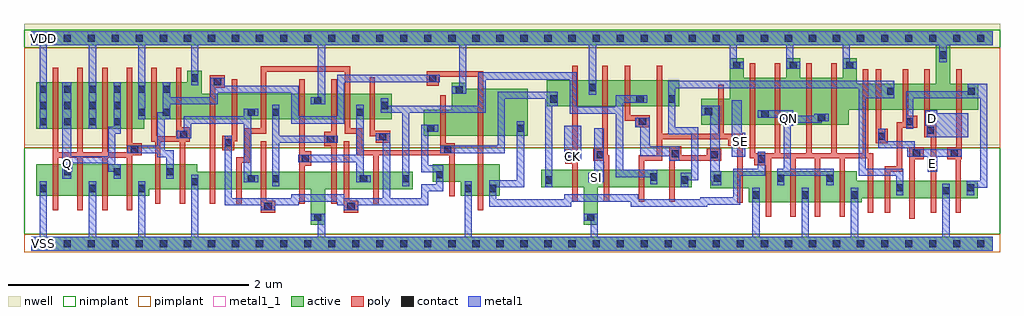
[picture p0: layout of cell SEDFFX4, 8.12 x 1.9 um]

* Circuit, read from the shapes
.subckt SEDFFX4 CK D E Q QN SE SI VDD VSS
M1 Q n1 VSS VSS nfet w=0.26u l=0.045u m=4
M2 n1 n2 VSS VSS nfet w=0.205u l=0.045u m=2
M3 n3 n1 VSS VSS nfet w=0.145u l=0.045u
M4 n2 n4 n3 VSS nfet w=0.145u l=0.045u
M5 n5 n6 n2 VSS nfet w=0.145u l=0.045u
M6 VSS n7 n5 VSS nfet w=0.145u l=0.045u
M7 n8 n5 VSS VSS nfet w=0.145u l=0.045u
M8 n7 n6 n8 VSS nfet w=0.145u l=0.045u
M9 n9 n4 n7 VSS nfet w=0.145u l=0.045u
M10 VSS n4 n6 VSS nfet w=0.145u l=0.045u
M11 n10 n1 VSS VSS nfet w=0.26u l=0.045u
M12 VSS CK n4 VSS nfet w=0.145u l=0.045u
M13 n11 SI VSS VSS nfet w=0.145u l=0.045u
M14 n9 SE n11 VSS nfet w=0.145u l=0.045u
M15 n12 n13 n9 VSS nfet w=0.145u l=0.045u
M16 VSS SE n13 VSS nfet w=0.145u l=0.045u
M17 QN n10 VSS VSS nfet w=0.26u l=0.045u m=4
M18 n14 n10 VSS VSS nfet w=0.145u l=0.045u
M19 n12 n15 n14 VSS nfet w=0.145u l=0.045u
M20 n16 E n12 VSS nfet w=0.145u l=0.045u
M21 VSS D n16 VSS nfet w=0.145u l=0.045u
M22 n15 E VSS VSS nfet w=0.145u l=0.045u
M23 Q n1 VDD VDD pfet w=0.39u l=0.045u m=4
M24 n1 n2 VDD VDD pfet w=0.31u l=0.045u m=2
M25 n17 n1 VDD VDD pfet w=0.215u l=0.045u
M26 n2 n6 n17 VDD pfet w=0.215u l=0.045u
M27 n5 n4 n2 VDD pfet w=0.215u l=0.045u
M28 VDD n7 n5 VDD pfet w=0.215u l=0.045u
M29 n18 n5 VDD VDD pfet w=0.215u l=0.045u
M30 n7 n4 n18 VDD pfet w=0.215u l=0.045u
M31 n9 n6 n7 VDD pfet w=0.215u l=0.045u
M32 VDD n4 n6 VDD pfet w=0.215u l=0.045u
M33 n10 n1 VDD VDD pfet w=0.39u l=0.045u
M34 VDD CK n4 VDD pfet w=0.215u l=0.045u
M35 n19 SI VDD VDD pfet w=0.215u l=0.045u
M36 n9 n13 n19 VDD pfet w=0.215u l=0.045u
M37 n12 SE n9 VDD pfet w=0.215u l=0.045u
M38 VDD SE n13 VDD pfet w=0.215u l=0.045u
M39 QN n10 VDD VDD pfet w=0.39u l=0.045u m=4
M40 n20 n10 VDD VDD pfet w=0.215u l=0.045u
M41 n12 E n20 VDD pfet w=0.215u l=0.045u
M42 n21 n15 n12 VDD pfet w=0.215u l=0.045u
M43 VDD D n21 VDD pfet w=0.215u l=0.045u
M44 n15 E VDD VDD pfet w=0.215u l=0.045u
.ends

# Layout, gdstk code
import gdstk
lib = gdstk.Library(unit=1e-6, precision=5e-10)
def R(c, l, rs):  # rectangles x0, y0, x1, y1
    for r in rs: c.add(gdstk.rectangle(r[:2], r[2:], *l))
def A(c, l, x, y, w, h, nx, ny, dx, dy):  # array of equal rectangles
    R(c, l, [(x+i*dx, y+j*dy, x+i*dx+w, y+j*dy+h) for i in range(nx) for j in range(ny)])
def P(c, l, *ps):  # polygons
    for p in ps: c.add(gdstk.Polygon(p, *l))
active = (1, 0)
nwell = (2, 0)
poly = (3, 0)
nimplant = (4, 0)
pimplant = (5, 0)
contact = (6, 0)
metal1 = (7, 0)
metal1_1 = (7, 1)

sedffx4 = lib.new_cell('SEDFFX4')
R(sedffx4, active, [(0,-0.06,8,0.06), (4.29,1.145,5.39,1.36)])
P(sedffx4, active, [(0,1.77),(8,1.77),(8,1.65),(7.645,1.65),(7.645,1.33),(7.88,1.33),(7.88,1.115),(6.8,1.115),(6.8,0.99),(5.575,0.99),(5.575,1.205),(5.81,1.205),(5.81,1.545),(5.93,1.545),(5.93,1.38),(6.28,1.38),(6.28,1.545),(6.4,1.545),(6.4,1.38),(6.75,1.38),(6.75,1.545),(6.87,1.545),(6.87,1.33),(7.525,1.33),(7.525,1.65),(0,1.65)],
  [(1.3,1.44),(1.42,1.44),(1.42,1.25),(3,1.25),(3,1.035),(0.94,1.035),(0.94,0.955),(0.04,0.955),(0.04,1.345),(1.3,1.345)],
  [(3.5,1.34),(3.62,1.34),(3.62,1.29),(4.13,1.29),(4.13,0.9),(3.265,0.9),(3.265,1.115),(3.5,1.115)],
  [(0.04,0.66),(1.38,0.66),(1.38,0.6),(3.175,0.6),(3.175,0.455),(2.445,0.455),(2.445,0.16),(2.325,0.16),(2.325,0.455),(0.98,0.455),(0.98,0.4),(0.04,0.4)],
  [(3.34,0.66),(3.9,0.66),(3.9,0.4),(3.575,0.4),(3.575,0.515),(3.34,0.515)],
  [(5.65,0.605),(6.87,0.605),(6.87,0.525),(7.875,0.525),(7.875,0.38),(6.91,0.38),(6.91,0.345),(5.97,0.345),(5.97,0.46),(5.65,0.46)],
  [(4.245,0.615),(5.495,0.615),(5.495,0.47),(4.715,0.47),(4.715,0.16),(4.595,0.16),(4.595,0.47),(4.245,0.47)])
R(sedffx4, nwell, [(-0.06,0.82,8.06,1.83)])
P(sedffx4, poly, [(0.18,1.465),(0.225,1.465),(0.225,0.76),(0.385,0.76),(0.385,1.465),(0.43,1.465),(0.43,0.76),(0.59,0.76),(0.59,1.465),(0.635,1.465),(0.635,0.76),(0.795,0.76),(0.795,1.465),(0.84,1.465),(0.84,0.835),(0.92,0.835),(0.92,0.735),(0.84,0.735),(0.84,0.28),(0.795,0.28),(0.795,0.715),(0.635,0.715),(0.635,0.28),(0.59,0.28),(0.59,0.715),(0.43,0.715),(0.43,0.28),(0.385,0.28),(0.385,0.715),(0.225,0.715),(0.225,0.28),(0.18,0.28)],
  [(1,1.465),(1.045,1.465),(1.045,0.895),(1.205,0.895),(1.205,1.465),(1.25,1.465),(1.25,0.97),(1.32,0.97),(1.32,0.85),(1.28,0.85),(1.28,0.335),(1.235,0.335),(1.235,0.85),(1.075,0.85),(1.075,0.335),(1.03,0.335),(1.03,0.85),(1,0.85)],
  [(1.91,1.475),(2.655,1.475),(2.655,0.96),(2.755,0.96),(2.755,0.78),(3.405,0.78),(3.405,1.235),(3.45,1.235),(3.45,0.835),(3.525,0.835),(3.525,0.395),(3.48,0.395),(3.48,0.735),(2.89,0.735),(2.89,0.335),(2.845,0.335),(2.845,0.735),(2.71,0.735),(2.71,0.915),(2.61,0.915),(2.61,1.43),(1.955,1.43),(1.955,0.915),(1.82,0.915),(1.82,0.675),(1.75,0.675),(1.75,0.335),(1.705,0.335),(1.705,0.72),(1.775,0.72),(1.775,0.96),(1.91,0.96)],
  [(1.485,1.4),(1.61,1.4),(1.61,1.3),(1.53,1.3),(1.53,0.335),(1.485,0.335)],
  [(1.67,1.37),(1.715,1.37),(1.715,0.855),(1.69,0.855),(1.69,0.78),(1.59,0.78),(1.59,0.9),(1.67,0.9)],
  [(2.23,1.37),(2.275,1.37),(2.275,0.77),(2.33,0.77),(2.33,0.65),(2.275,0.65),(2.275,0.335),(2.23,0.335)],
  [(2.495,1.37),(2.54,1.37),(2.54,0.335),(2.495,0.335),(2.495,0.81),(2.44,0.81),(2.44,0.93),(2.495,0.93)],
  [(3.29,1.435),(3.76,1.435),(3.76,0.28),(3.715,0.28),(3.715,1.39),(3.39,1.39),(3.39,1.315),(3.29,1.315)],
  [(2.815,1.385),(2.86,1.385),(2.86,0.94),(2.985,0.94),(2.985,0.84),(2.865,0.84),(2.865,0.895),(2.815,0.895)],
  [(4.5,1.48),(4.545,1.48),(4.545,0.35),(4.5,0.35),(4.5,0.665),(4.445,0.665),(4.445,0.785),(4.5,0.785)],
  [(4.75,1.48),(4.795,1.48),(4.795,0.735),(4.81,0.735),(4.81,0.35),(4.765,0.35),(4.765,0.69),(4.675,0.69),(4.675,0.79),(4.75,0.79)],
  [(4.94,1.48),(4.985,1.48),(4.985,1.07),(5.145,1.07),(5.145,0.97),(5.025,0.97),(5.025,1.025),(4.94,1.025)],
  [(5.205,1.48),(5.25,1.48),(5.25,0.915),(5.715,0.915),(5.715,1.325),(5.76,1.325),(5.76,0.915),(5.92,0.915),(5.92,0.34),(5.875,0.34),(5.875,0.815),(5.8,0.815),(5.8,0.87),(5.25,0.87),(5.25,0.69),(5.1,0.69),(5.1,0.35),(5.055,0.35),(5.055,0.735),(5.205,0.735)],
  [(5.98,1.5),(6.025,1.5),(6.025,0.755),(6.185,0.755),(6.185,1.5),(6.23,1.5),(6.23,0.755),(6.45,0.755),(6.45,1.5),(6.495,1.5),(6.495,0.755),(6.655,0.755),(6.655,1.5),(6.7,1.5),(6.7,0.755),(6.92,0.755),(6.92,1.45),(6.965,1.45),(6.965,0.755),(7.005,0.755),(7.005,0.26),(6.96,0.26),(6.96,0.71),(6.77,0.71),(6.77,0.225),(6.725,0.225),(6.725,0.71),(6.565,0.71),(6.565,0.225),(6.52,0.225),(6.52,0.71),(6.36,0.71),(6.36,0.225),(6.315,0.225),(6.315,0.71),(6.155,0.71),(6.155,0.225),(6.11,0.225),(6.11,0.655),(6.015,0.655),(6.015,0.71),(5.98,0.71)],
  [(7.025,1.45),(7.07,1.45),(7.07,0.955),(7.125,0.955),(7.125,0.835),(7.025,0.835)],
  [(7.25,1.45),(7.295,1.45),(7.295,1.065),(7.37,1.065),(7.37,0.965),(7.245,0.965),(7.245,0.6),(7.145,0.6),(7.145,0.26),(7.1,0.26),(7.1,0.645),(7.2,0.645),(7.2,1.01),(7.25,1.01)],
  [(7.43,1.45),(7.475,1.45),(7.475,1.005),(7.53,1.005),(7.53,0.26),(7.485,0.26),(7.485,0.885),(7.43,0.885)],
  [(7.695,1.45),(7.74,1.45),(7.74,0.705),(7.735,0.705),(7.735,0.26),(7.69,0.26),(7.69,0.705),(7.62,0.705),(7.62,0.805),(7.695,0.805)],
  [(7.305,0.805),(7.425,0.805),(7.425,0.705),(7.35,0.705),(7.35,0.21),(7.305,0.21)],
  [(5.31,0.81),(5.41,0.81),(5.41,0.735),(5.62,0.735),(5.62,0.79),(5.74,0.79),(5.74,0.69),(5.355,0.69),(5.355,0.35),(5.31,0.35)],
  [(1.91,0.855),(1.955,0.855),(1.955,0.36),(2.03,0.36),(2.03,0.26),(1.91,0.26)],
  [(2.6,0.855),(2.645,0.855),(2.645,0.36),(2.72,0.36),(2.72,0.26),(2.6,0.26)])
R(sedffx4, nimplant, [(-0.06,0.08,8.06,0.8), (-0.06,1.63,8.06,1.78)])
R(sedffx4, pimplant, [(-0.06,-0.07,8.06,0.08), (-0.06,0.8,8.06,1.63)])
A(sedffx4, contact, 0.07, -0.03, 0.06, 0.06, 40, 2, 0.2, 1.71)
A(sedffx4, contact, 6, 0.375, 0.06, 0.06, 3, 1, 0.41, 0)
A(sedffx4, contact, 0.07, 0.43, 0.06, 0.06, 3, 1, 0.41, 0)
A(sedffx4, contact, 0.07, 0.985, 0.06, 0.06, 4, 2, 0.205, 0.135)
A(sedffx4, contact, 0.07, 1.255, 0.06, 0.06, 6, 1, 0.205, 0)
A(sedffx4, contact, 5.84, 1.455, 0.06, 0.06, 3, 1, 0.47, 0)
R(sedffx4, contact, [(2.355,0.19,2.415,0.25), (4.625,0.19,4.685,0.25), (1.94,0.28,2,0.34), (2.63,0.28,2.69,0.34), (7.58,0.41,7.64,0.47), (3.605,0.43,3.665,0.49), (3.81,0.43,3.87,0.49), (7.195,0.435,7.255,0.495), (7.785,0.435,7.845,0.495), (1.33,0.485,1.39,0.545), (4.275,0.5,4.335,0.56), (5.405,0.5,5.465,0.56), (1.8,0.51,1.86,0.57), (2.005,0.51,2.065,0.57), (2.735,0.51,2.795,0.57), (3.085,0.51,3.145,0.57), (5.68,0.515,5.74,0.575), (6.205,0.515,6.265,0.575), (6.615,0.515,6.675,0.575), (5.15,0.525,5.21,0.585), (3.37,0.545,3.43,0.605), (0.275,0.57,0.335,0.63), (0.685,0.57,0.745,0.63), (1.125,0.57,1.185,0.63), (6.045,0.675,6.105,0.735), (2.25,0.68,2.31,0.74), (4.465,0.695,4.525,0.755), (4.705,0.71,4.765,0.77), (5.65,0.71,5.71,0.77), (5.33,0.72,5.39,0.78), (7.335,0.725,7.395,0.785), (7.65,0.725,7.71,0.785), (0.83,0.755,0.89,0.815), (3.435,0.755,3.495,0.815), (1.61,0.81,1.67,0.87), (5.83,0.835,5.89,0.895), (2.46,0.84,2.52,0.9), (2.895,0.86,2.955,0.92), (7.045,0.865,7.105,0.925), (1.24,0.88,1.3,0.94), (7.45,0.915,7.51,0.975), (3.295,0.93,3.355,0.99), (4.04,0.93,4.1,0.99), (7.28,0.985,7.34,1.045), (5.055,0.99,5.115,1.05), (6.545,1.02,6.605,1.08), (6.075,1.05,6.135,1.11), (0.89,1.065,0.95,1.125), (1.095,1.065,1.155,1.125), (1.8,1.065,1.86,1.125), (2.005,1.065,2.065,1.125), (2.705,1.065,2.765,1.125), (5.605,1.07,5.665,1.13), (2.91,1.12,2.97,1.18), (2.355,1.16,2.415,1.22), (4.32,1.175,4.38,1.235), (5.035,1.175,5.095,1.235), (5.3,1.175,5.36,1.235), (7.12,1.24,7.18,1.3), (7.79,1.24,7.85,1.3), (3.53,1.25,3.59,1.31), (4.64,1.27,4.7,1.33), (1.52,1.32,1.58,1.38), (3.31,1.345,3.37,1.405), (1.33,1.35,1.39,1.41), (7.555,1.54,7.615,1.6)])
R(sedffx4, metal1, [(4.435,0.69,4.575,0.98)])
P(sedffx4, metal1, [(0,1.77),(8,1.77),(8,1.65),(7.615,1.65),(7.615,1.51),(7.555,1.51),(7.555,1.65),(6.81,1.65),(6.81,1.515),(6.87,1.515),(6.87,1.455),(6.75,1.455),(6.75,1.65),(6.34,1.65),(6.34,1.515),(6.4,1.515),(6.4,1.455),(6.28,1.455),(6.28,1.65),(5.87,1.65),(5.87,1.515),(5.93,1.515),(5.93,1.455),(5.81,1.455),(5.81,1.65),(4.7,1.65),(4.7,1.24),(4.64,1.24),(4.64,1.65),(3.62,1.65),(3.62,1.25),(3.5,1.25),(3.5,1.31),(3.56,1.31),(3.56,1.65),(2.445,1.65),(2.445,1.16),(2.325,1.16),(2.325,1.22),(2.385,1.22),(2.385,1.65),(1.39,1.65),(1.39,1.32),(1.33,1.32),(1.33,1.65),(0.95,1.65),(0.95,1.035),(0.89,1.035),(0.89,1.65),(0.54,1.65),(0.54,0.955),(0.48,0.955),(0.48,1.65),(0.13,1.65),(0.13,0.955),(0.07,0.955),(0.07,1.65),(0,1.65)],
  [(0.26,1.345),(0.335,1.345),(0.335,0.73),(0.64,0.73),(0.64,0.975),(0.685,0.975),(0.685,1.345),(0.745,1.345),(0.745,0.915),(0.7,0.915),(0.7,0.66),(0.745,0.66),(0.745,0.54),(0.685,0.54),(0.685,0.6),(0.64,0.6),(0.64,0.67),(0.34,0.67),(0.34,0.6),(0.335,0.6),(0.335,0.54),(0.26,0.54)],
  [(1.095,1.345),(1.155,1.345),(1.155,1.22),(1.49,1.22),(1.49,1.38),(1.61,1.38),(1.61,1.315),(2.225,1.315),(2.225,1.06),(2.545,1.06),(2.545,1.405),(3.4,1.405),(3.4,1.345),(2.605,1.345),(2.605,1),(2.165,1),(2.165,1.255),(1.55,1.255),(1.55,1.16),(1.155,1.16),(1.155,1.035),(1.11,1.035),(1.11,0.78),(1.185,0.78),(1.185,0.54),(1.125,0.54),(1.125,0.72),(1.05,0.72),(1.05,0.755),(0.8,0.755),(0.8,0.815),(1.05,0.815),(1.05,1.095),(1.095,1.095)],
  [(2.005,1.155),(2.065,1.155),(2.065,0.9),(2.55,0.9),(2.55,0.84),(2.065,0.84),(2.065,0.48),(2.005,0.48)],
  [(1.77,1.125),(1.89,1.125),(1.89,1.065),(1.83,1.065),(1.83,0.57),(1.89,0.57),(1.89,0.51),(1.77,0.51),(1.77,1),(1.33,1),(1.33,0.88),(1.21,0.88),(1.21,0.94),(1.27,0.94),(1.27,1.06),(1.77,1.06)],
  [(3.245,0.99),(3.385,0.99),(3.385,0.93),(3.305,0.93),(3.305,0.655),(3.43,0.655),(3.43,0.435),(3.305,0.435),(3.305,0.32),(2.72,0.32),(2.72,0.28),(2.6,0.28),(2.6,0.32),(2.545,0.32),(2.545,0.35),(2.225,0.35),(2.225,0.32),(2.03,0.32),(2.03,0.28),(1.91,0.28),(1.91,0.32),(1.61,0.32),(1.61,0.9),(1.67,0.9),(1.67,0.38),(2.165,0.38),(2.165,0.41),(2.605,0.41),(2.605,0.38),(2.925,0.38),(2.925,0.86),(2.865,0.86),(2.865,0.92),(2.985,0.92),(2.985,0.38),(3.245,0.38),(3.245,0.495),(3.37,0.495),(3.37,0.595),(3.245,0.595)],
  [(0.07,0.52),(0.13,0.52),(0.13,0.06),(0.48,0.06),(0.48,0.52),(0.54,0.52),(0.54,0.06),(0.89,0.06),(0.89,0.52),(0.95,0.52),(0.95,0.06),(1.33,0.06),(1.33,0.575),(1.39,0.575),(1.39,0.06),(2.385,0.06),(2.385,0.19),(2.325,0.19),(2.325,0.25),(2.445,0.25),(2.445,0.06),(3.605,0.06),(3.605,0.52),(3.665,0.52),(3.665,0.06),(4.655,0.06),(4.655,0.19),(4.595,0.19),(4.595,0.25),(4.715,0.25),(4.715,0.06),(6,0.06),(6,0.465),(6.06,0.465),(6.06,0.06),(6.41,0.06),(6.41,0.465),(6.47,0.465),(6.47,0.06),(6.82,0.06),(6.82,0.465),(6.88,0.465),(6.88,0.06),(7.58,0.06),(7.58,0.5),(7.64,0.5),(7.64,0.06),(8,0.06),(8,-0.06),(0,-0.06),(0,0.06),(0.07,0.06)],
  [(3.72,1.425),(4.54,1.425),(4.54,1.14),(4.865,1.14),(4.865,1.235),(5.125,1.235),(5.125,1.175),(4.925,1.175),(4.925,0.615),(5.21,0.615),(5.21,0.495),(5.15,0.495),(5.15,0.555),(4.865,0.555),(4.865,1.08),(4.48,1.08),(4.48,1.365),(3.78,1.365),(3.78,1.09),(3.145,1.09),(3.145,0.48),(3.085,0.48),(3.085,1.09),(2.91,1.09),(2.91,1.21),(2.97,1.21),(2.97,1.15),(3.72,1.15)],
  [(2.705,1.155),(2.765,1.155),(2.765,0.57),(2.825,0.57),(2.825,0.51),(2.705,0.51),(2.705,0.68),(2.22,0.68),(2.22,0.74),(2.705,0.74)],
  [(3.88,1.265),(4.38,1.265),(4.38,1.145),(4.335,1.145),(4.335,0.47),(4.275,0.47),(4.275,1.205),(3.94,1.205),(3.94,0.755),(3.405,0.755),(3.405,0.815),(3.88,0.815)],
  [(4.04,1.02),(4.1,1.02),(4.1,0.47),(3.87,0.47),(3.87,0.37),(4.435,0.37),(4.435,0.41),(5.05,0.41),(5.05,0.37),(5.565,0.37),(5.565,0.385),(5.84,0.385),(5.84,0.625),(6.045,0.625),(6.045,0.765),(6.105,0.765),(6.105,0.565),(5.9,0.565),(5.9,0.325),(5.625,0.325),(5.625,0.31),(4.99,0.31),(4.99,0.35),(4.495,0.35),(4.495,0.31),(3.81,0.31),(3.81,0.53),(4.04,0.53)],
  [(5.3,1.355),(7.18,1.355),(7.18,1.21),(6.945,1.21),(6.945,0.625),(7.255,0.625),(7.255,0.405),(7.195,0.405),(7.195,0.565),(6.885,0.565),(6.885,1.295),(5.36,1.295),(5.36,0.97),(5.55,0.97),(5.55,0.53),(5.465,0.53),(5.465,0.47),(5.405,0.47),(5.405,0.59),(5.49,0.59),(5.49,0.91),(5.3,0.91)],
  [(7.79,1.33),(7.955,1.33),(7.955,0.465),(7.845,0.465),(7.845,0.405),(7.785,0.405),(7.785,0.525),(7.895,0.525),(7.895,1.21),(7.34,1.21),(7.34,0.955),(7.28,0.955),(7.28,1.27),(7.79,1.27)],
  [(5.025,1.05),(5.145,1.05),(5.145,0.81),(5.39,0.81),(5.39,0.69),(5.31,0.69),(5.31,0.73),(5.065,0.73),(5.065,0.97),(5.025,0.97)],
  [(4.685,0.96),(4.765,0.96),(4.765,0.51),(4.635,0.51),(4.635,0.59),(4.685,0.59)],
  [(5.575,1.15),(5.73,1.15),(5.73,0.605),(5.74,0.605),(5.74,0.485),(5.66,0.485),(5.66,0.525),(5.65,0.525),(5.65,1.07),(5.575,1.07)],
  [(6.045,1.11),(6.34,1.11),(6.34,1.065),(6.515,1.065),(6.515,1.08),(6.635,1.08),(6.635,1.02),(6.575,1.02),(6.575,1.005),(6.34,1.005),(6.34,0.98),(6.32,0.98),(6.32,0.625),(6.675,0.625),(6.675,0.485),(6.615,0.485),(6.615,0.565),(6.265,0.565),(6.265,0.485),(6.205,0.485),(6.205,0.625),(6.26,0.625),(6.26,1.05),(6.045,1.05)],
  [(5.83,1.195),(5.91,1.195),(5.91,0.925),(5.94,0.925),(5.94,0.725),(5.83,0.725)],
  [(7.045,0.955),(7.105,0.955),(7.105,0.855),(7.35,0.855),(7.35,0.785),(7.74,0.785),(7.74,0.725),(7.54,0.725),(7.54,0.6),(7.46,0.6),(7.46,0.725),(7.29,0.725),(7.29,0.795),(7.045,0.795)],
  [(7.44,1.11),(7.54,1.11),(7.54,1.085),(7.795,1.085),(7.795,0.885),(7.45,0.885),(7.45,0.98),(7.44,0.98)])
R(sedffx4, metal1_1, [(0.06,-0.04,0.14,0.04), (4.66,0.51,4.74,0.59), (0.26,0.625,0.34,0.705), (7.46,0.625,7.54,0.705), (4.46,0.69,4.54,0.77), (5.86,0.815,5.94,0.895), (6.26,1.005,6.34,1.085), (7.46,1.005,7.54,1.085), (0.06,1.67,0.14,1.75)])
sedffx4.add(gdstk.Label('QN', (6.3,1.045), layer=7, texttype=1))
sedffx4.add(gdstk.Label('E', (7.5,0.665), layer=7, texttype=1))
sedffx4.add(gdstk.Label('D', (7.5,1.045), layer=7, texttype=1))
sedffx4.add(gdstk.Label('SE', (5.9,0.855), layer=7, texttype=1))
sedffx4.add(gdstk.Label('SI', (4.7,0.55), layer=7, texttype=1))
sedffx4.add(gdstk.Label('CK', (4.5,0.73), layer=7, texttype=1))
sedffx4.add(gdstk.Label('Q', (0.3,0.665), layer=7, texttype=1))
sedffx4.add(gdstk.Label('VDD', (0.1,1.71), layer=7, texttype=1))
sedffx4.add(gdstk.Label('VSS', (0.1,0), layer=7, texttype=1))
sedffx4.add(gdstk.Label('SEDFFX4', (0,0), layer=63, texttype=0))

lib.write_gds('SEDFFX4.gds')
